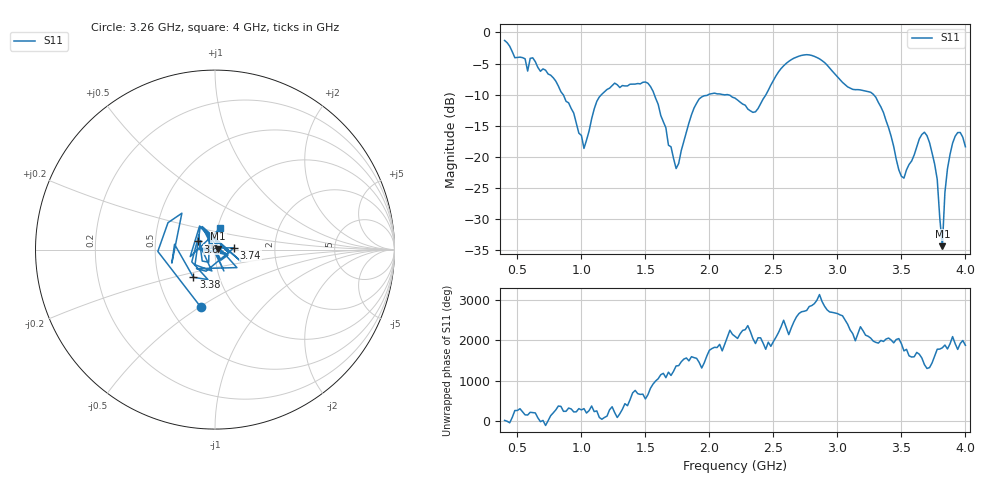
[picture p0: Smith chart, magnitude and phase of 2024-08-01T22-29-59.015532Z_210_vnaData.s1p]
!Created with skrf (http://scikit-rf.org).
# Hz S RI R 50.0
!freq ReS11 ImS11
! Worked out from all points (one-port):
!   181 points, 400 MHz to 4 GHz, reference 50 ohm
!   lowest |S11| = -34.3 dB at 3.82 GHz (marker M1), VSWR 1.04, Z = 51.9 + j0.577 ohm
!   |S11| at or under -10 dB: 857.8 MHz to 1.156 GHz (298.5 MHz wide, 29.6 % of centre); 1.57 GHz to 1.991 GHz (421.6 MHz wide, 23.7 % of centre); 3.283 GHz to end of sweep (the widest 3 of 5)
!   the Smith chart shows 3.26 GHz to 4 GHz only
!   S11 on the Smith chart (normalised r, x): 3.26 GHz: 0.70, -0.51; 3.38 GHz: 0.75, -0.24; 3.6 GHz: 0.83, +0.08; 3.74 GHz: 1.24, +0.03; 4 GHz: 1.03, +0.25
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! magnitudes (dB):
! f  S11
! 400 MHz  -1.3
! 860 MHz  -10.1
! 1.02 GHz  -18.6
! 1.14 GHz  -10.4
! 1.3 GHz  -8.9
! 1.52 GHz  -8.2
! 1.6 GHz  -11.6
! 1.74 GHz  -21.9
! 1.76 GHz  -21.1
! 1.92 GHz  -10.7
! 2.2 GHz  -10.6
! 2.36 GHz  -12.7
! 2.66 GHz  -4.1
! 2.86 GHz  -4.2
! 3.1 GHz  -9.0
! 3.26 GHz  -9.6
! 3.38 GHz  -14.2
! 3.5 GHz  -23.1
! 3.56 GHz  -21.2
! 3.6 GHz  -19.7
! 3.68 GHz  -16.0
! 3.74 GHz  -19.4
! 3.78 GHz  -23.6
! 3.82 GHz  -34.3
! 3.84 GHz  -25.7
! 3.9 GHz  -17.8
! 3.96 GHz  -16.1
! 4 GHz  -18.4
